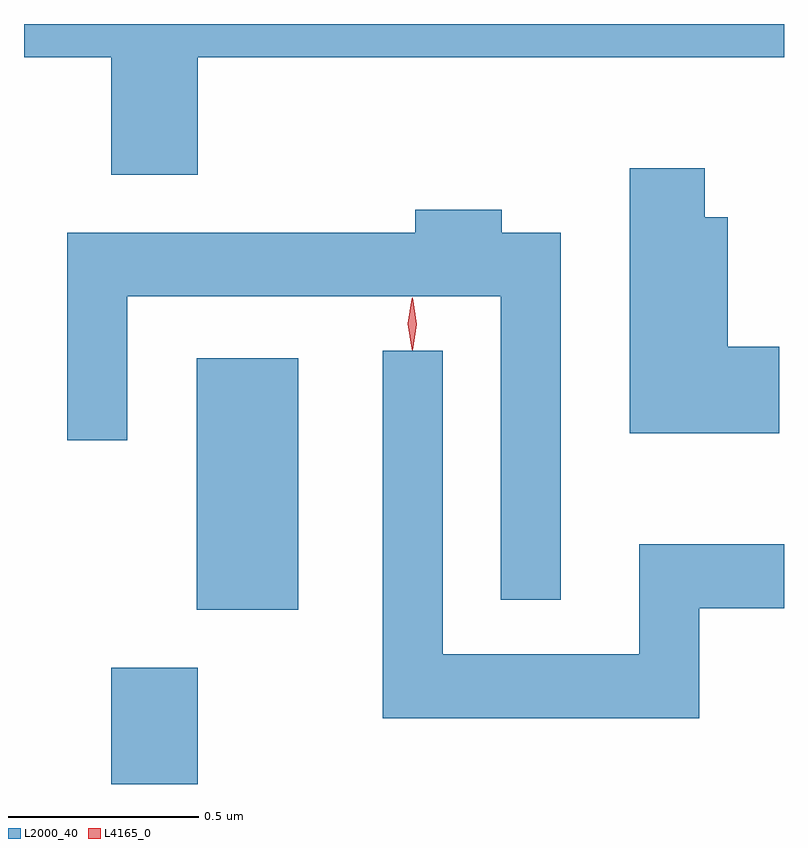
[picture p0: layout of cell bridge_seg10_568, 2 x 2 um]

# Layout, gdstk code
import gdstk
lib = gdstk.Library(unit=1e-6, precision=1e-09)
def R(c, l, rs):  # rectangles x0, y0, x1, y1
    for r in rs: c.add(gdstk.rectangle(r[:2], r[2:], *l))
def P(c, l, *ps):  # polygons
    for p in ps: c.add(gdstk.Polygon(p, *l))
L2000_40 = (2000, 40)
L4165_0 = (4165, 0)

bridge_seg10_568 = lib.new_cell('bridge_seg10_568')
R(bridge_seg10_568, L2000_40, [(787.431,2167.503,787.659,2167.809), (787.656,2167.961,787.924,2168.624)])
P(bridge_seg10_568, L2000_40, [(787.659,2169.416),(789.202,2169.416),(789.202,2169.503),(787.202,2169.503),(787.202,2169.416),(787.431,2169.416),(787.431,2169.106),(787.659,2169.106)],
  [(789.189,2168.654),(789.054,2168.654),(789.054,2168.994),(788.994,2168.994),(788.994,2169.124),(788.796,2169.124),(788.796,2168.426),(789.189,2168.426)],
  [(788.614,2168.954),(788.459,2168.954),(788.459,2169.014),(788.231,2169.014),(788.231,2168.954),(787.316,2168.954),(787.316,2168.408),(787.474,2168.408),(787.474,2168.786),(788.456,2168.786),(788.456,2167.988),(788.614,2167.988)],
  [(788.979,2167.966),(789.202,2167.966),(789.202,2168.134),(788.821,2168.134),(788.821,2167.844),(788.304,2167.844),(788.304,2168.643),(788.146,2168.643),(788.146,2167.676),(788.979,2167.676)])
P(bridge_seg10_568, L4165_0, [(788.224,2168.644),(788.215,2168.713),(788.224,2168.782),(788.225,2168.783),(788.225,2168.782),(788.235,2168.713),(788.225,2168.644),(788.225,2168.644)],
  [(788.222,2168.647),(788.222,2168.648),(788.212,2168.714),(788.222,2168.78),(788.222,2168.78),(788.223,2168.78),(788.232,2168.714),(788.223,2168.648)])

lib.write_gds('bridge_seg10_568.gds')
